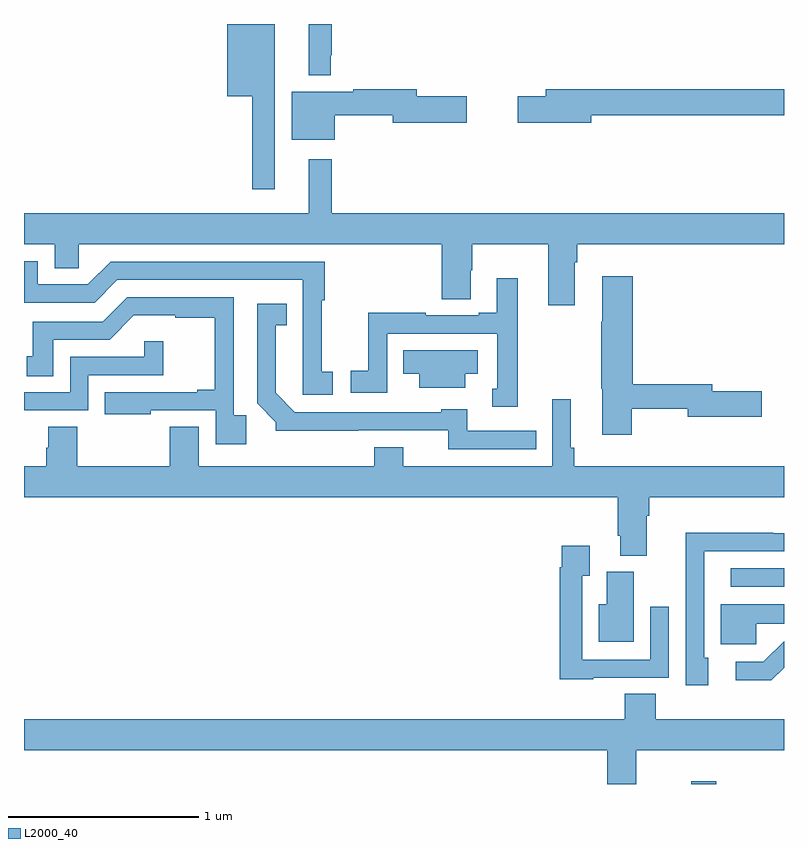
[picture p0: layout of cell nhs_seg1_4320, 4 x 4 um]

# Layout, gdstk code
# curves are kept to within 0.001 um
import gdstk
lib = gdstk.Library(unit=1e-6, precision=1e-09)
def R(c, l, rs):  # rectangles x0, y0, x1, y1
    for r in rs: c.add(gdstk.rectangle(r[:2], r[2:], *l))
def P(c, l, *ps):  # polygons
    for p in ps: c.add(gdstk.Polygon(p, *l))
L2000_40 = (2000, 40)

nhs_seg1_4320 = lib.new_cell('nhs_seg1_4320')
R(nhs_seg1_4320, L2000_40, [(348.512,574.199,348.643,574.213), (348.72,575.238,349,575.334)])
P(nhs_seg1_4320, L2000_40, [(346.614,578.035),(346.621,578.035),(346.621,578.199),(346.499,578.199),(346.499,577.928),(346.614,577.928)],
  [(346.321,578.199),(346.07,578.199),(346.07,577.82),(346.2,577.82),(346.2,577.329),(346.321,577.329)],
  [(347.986,577.72),(349,577.72),(349,577.856),(347.747,577.856),(347.747,577.82),(347.598,577.82),(347.598,577.678),(347.986,577.678)],
  [(346.636,577.72),(346.94,577.72),(346.94,577.678),(347.329,577.678),(347.329,577.82),(347.068,577.82),(347.068,577.856),(346.732,577.856),(346.732,577.843),(346.409,577.843),(346.409,577.589),(346.636,577.589)],
  [(347.899,576.944),(347.912,576.944),(347.912,577.04),(349,577.04),(349,577.204),(346.621,577.204),(346.621,577.486),(346.499,577.486),(346.499,577.204),(345,577.204),(345,577.04),(345.161,577.04),(345.161,576.913),(345.288,576.913),(345.288,577.04),(347.198,577.04),(347.198,576.751),(347.35,576.751),(347.35,576.902),(347.358,576.902),(347.358,577.04),(347.759,577.04),(347.759,576.72),(347.899,576.72)],
  [(346.624,576.369),(346.566,576.369),(346.566,576.745),(346.583,576.745),(346.583,576.948),(345.456,576.948),(345.336,576.828),(345.072,576.828),(345.072,576.951),(345,576.951),(345,576.732),(345.372,576.732),(345.492,576.852),(346.467,576.852),(346.466,576.249),(346.624,576.249)],
  [(348.198,576.174),(348.494,576.174),(348.494,576.131),(348.883,576.131),(348.883,576.266),(348.622,576.266),(348.622,576.302),(348.203,576.302),(348.203,576.871),(348.044,576.871),(348.044,576.632),(348.037,576.632),(348.037,576.279),(348.044,576.279),(348.044,576.036),(348.198,576.036)],
  [(347.599,576.862),(347.489,576.862),(347.489,576.679),(347.393,576.679),(347.393,576.666),(347.114,576.666),(347.114,576.679),(346.813,576.679),(346.813,576.374),(346.719,576.374),(346.719,576.258),(346.911,576.258),(346.911,576.57),(347.49,576.57),(347.49,576.279),(347.465,576.279),(347.465,576.185),(347.599,576.185)],
  [(346.169,576.139),(346.104,576.139),(346.104,576.762),(345.543,576.762),(345.414,576.633),(345.047,576.633),(345.047,576.45),(345.014,576.45),(345.014,576.346),(345.154,576.346),(345.154,576.537),(345.45,576.537),(345.578,576.665),(345.797,576.665),(345.797,576.654),(346.003,576.654),(346.003,576.274),(345.911,576.274),(345.911,576.261),(345.424,576.261),(345.424,576.146),(345.667,576.146),(345.667,576.165),(346.008,576.165),(346.008,575.988),(346.169,575.988)],
  [(347.696,576.057),(347.332,576.057),(347.332,576.172),(347.196,576.172),(347.196,576.156),(346.425,576.156),(346.324,576.257),(346.324,576.614),(346.382,576.614),(346.382,576.727),(346.227,576.727),(346.227,576.202),(346.326,576.103),(346.326,576.059),(347.233,576.06),(347.233,575.961),(347.696,575.961)],
  [(345.339,576.351),(345.734,576.351),(345.734,576.529),(345.633,576.529),(345.633,576.447),(345.243,576.447),(345.243,576.261),(345,576.261),(345,576.165),(345.339,576.165)],
  [(347.323,576.359),(347.389,576.359),(347.389,576.481),(346.996,576.481),(346.996,576.359),(347.081,576.359),(347.081,576.284),(347.323,576.284)],
  [(348.277,575.612),(348.29,575.612),(348.29,575.708),(349,575.708),(349,575.872),(347.897,575.872),(347.897,575.968),(347.878,575.968),(347.878,576.223),(347.781,576.223),(347.781,575.872),(346.996,575.872),(346.996,575.971),(346.844,575.971),(346.844,575.872),(345.919,575.872),(345.919,576.08),(345.767,576.08),(345.767,575.872),(345.281,575.872),(345.281,576.08),(345.128,576.08),(345.128,575.97),(345.116,575.97),(345.116,575.872),(345,575.872),(345,575.708),(348.125,575.708),(348.125,575.506),(348.137,575.506),(348.137,575.401),(348.277,575.401)],
  [(348.601,574.863),(348.579,574.863),(348.579,575.424),(349,575.424),(349,575.52),(348.944,575.52),(348.944,575.522),(348.482,575.522),(348.482,575.218),(348.483,575.218),(348.483,574.719),(348.601,574.719)],
  [(347.997,574.758),(348.393,574.758),(348.393,575.131),(348.297,575.131),(348.297,574.854),(347.937,574.854),(347.937,575.296),(347.977,575.296),(347.977,575.452),(347.829,575.452),(347.829,575.339),(347.821,575.339),(347.821,574.751),(347.997,574.751)],
  [(348.208,575.316),(348.068,575.316),(348.068,575.146),(348.026,575.146),(348.026,574.949),(348.208,574.949)],
  [(348.855,575.042),(349,575.042),(349,575.146),(348.668,575.146),(348.668,574.935),(348.855,574.935)],
  [(349,574.81),(349,574.951),(348.891,574.842),(348.747,574.842),(348.747,574.745),(348.934,574.745)],
  [(348.223,574.376),(349,574.376),(349,574.54),(348.326,574.54),(348.326,574.673),(348.161,574.673),(348.161,574.54),(345,574.54),(345,574.376),(348.071,574.376),(348.071,574.199),(348.223,574.199)])

lib.write_gds('nhs_seg1_4320.gds')
